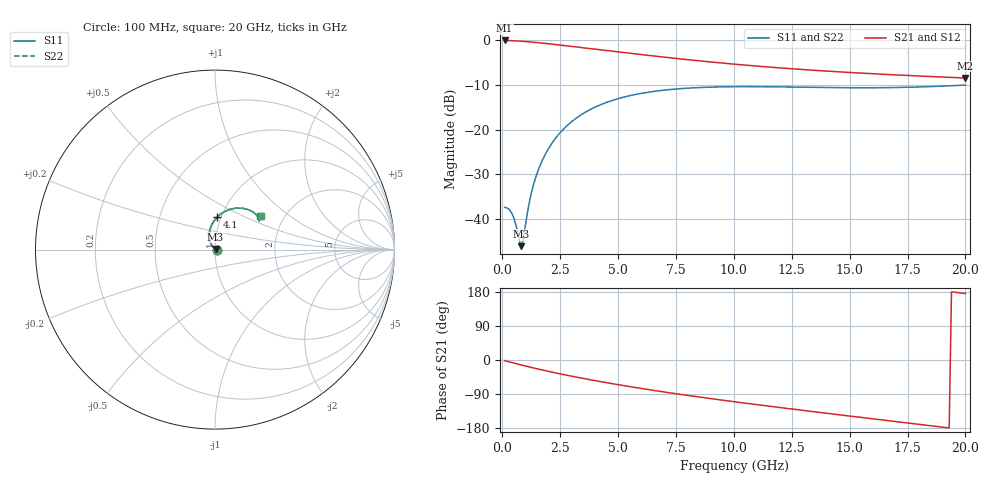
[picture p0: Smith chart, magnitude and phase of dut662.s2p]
! Touchstone file exported from HFSS 2024.1.0
!  File:  C:/UserFiles/LocalFiles/RDL_TSV_Batchsim/temp_RDL_TSV_662_1779812088.aedt
!  Generated:  12:29:00 AM May 27, 2026
!  Design:  RDL_TSV
!  Project:  temp_RDL_TSV_662_1779812088
!  Setup:  Setup1
!  Solution:  Sweep
! Variables:
!  dtsv = 10.88um
!  hbump = 3um
!  htsv = 74.22um
!  ldown = 297.87um
!  lrdl = 405.69um
!  p = 40
!  p1 = 46.71um
!  rhole = 10um
!  subl = 2516.37um
!  t = 450um
!  tdown = 3.04um
!  trdl = 4.24um
!  viad = 10um
!  wdown = 23.82um
!  wrdl = 15.55um
!  xbump = 18um
# GHz S MA R 50.000000
! Terminal data exported
! Port[1] = TM1_1_T1
! Port[2] = TM1_4_T1
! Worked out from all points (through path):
!   200 points, 100 MHz to 20 GHz, reference 50 ohm
!   highest |S21| = -0.12 dB at 100 MHz (marker M1); lowest = -8.5 dB at 20 GHz (marker M2)
!   group delay of S21, straight-line fit = 24.1 ps
!   lowest |S11| = -46.0 dB at 800 MHz (marker M3), VSWR 1.01, Z = 50.3 + j0.407 ohm
!   |S11| at or under -10 dB: start of sweep to end of sweep
!   |S22| runs from -46.0 to -10.1 dB; largest |S21 - S12| = 9.2e-15
!   S11 on the Smith chart (normalised r, x): 100 MHz: 1.03, +0.00; 4.1 GHz: 0.96, +0.36; 20 GHz: 1.52, +0.62
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0.1  0.0136 2.1  0.9859 -1.7  0.9859 -1.7  0.0136 2.1
! Gamma 0 0 0 0
! Port Impedance 50 0 50 0
0.3  0.01285 4.8  0.9828 -4.9  0.9828 -4.9  0.01285 4.8
0.5  0.01035 8.1  0.9779 -8.1  0.9779 -8.1  0.01035 8.1
0.6  0.008439 13.4  0.9749 -9.7  0.9749 -9.7  0.008437 13.4
0.8  0.005017 53.7  0.9678 -12.8  0.9678 -12.8  0.005014 53.8
0.9  0.005773 90.7  0.9638 -14.4  0.9638 -14.4  0.005772 90.7
1.1  0.01253 121.4  0.9549 -17.4  0.9549 -17.4  0.01253 121.4
1.3  0.02185 126.5  0.9451 -20.3  0.9451 -20.3  0.02186 126.6
1.5  0.03238 126.0  0.9344 -23.2  0.9344 -23.2  0.0324 126.0
1.7  0.0437 123.6  0.9232 -26.0  0.9232 -26.0  0.04372 123.6
2.1  0.06775 117.1  0.8998 -31.4  0.8998 -31.4  0.06778 117.1
2.5  0.0925 110.2  0.8759 -36.6  0.8759 -36.6  0.09255 110.2
3  0.1229 101.8  0.8462 -42.8  0.8462 -42.8  0.123 101.9
3.5  0.1515 94.1  0.817 -48.7  0.817 -48.7  0.1516 94.1
4.1  0.1825 85.7  0.7832 -55.5  0.7832 -55.5  0.1827 85.7
5.3  0.232 71.6  0.7201 -68.1  0.7201 -68.1  0.2322 71.6
6.8  0.2718 58.1  0.6503 -82.7  0.6503 -82.7  0.2721 58.2
8.4  0.2935 47.7  0.5878 -96.8  0.5878 -96.8  0.2937 47.7
10.1  0.301 40.0  0.534 -110.8  0.534 -110.8  0.3013 40.0
13.4  0.2957 33.1  0.4594 -136.1  0.4594 -136.1  0.2961 33.1
16.7  0.2938 33.5  0.4107 -160.4  0.4107 -160.4  0.2942 33.5
20  0.3134 36.1  0.3759 175.5  0.3759 175.5  0.3138 36.1
